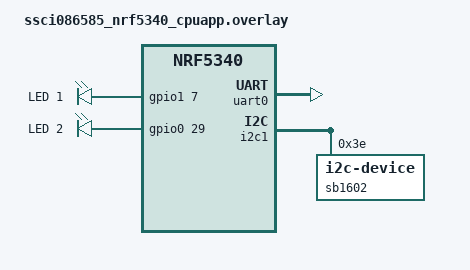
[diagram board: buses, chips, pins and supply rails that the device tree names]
// To get started, press Ctrl+Space to bring up the completion menu and view the available nodes.

// You can also use the buttons in the sidebar to perform actions on nodes.
// Actions currently available include:

// * Enabling / disabling the node
// * Adding the bus to a bus
// * Removing the node
// * Connecting ADC channels

// For more help, browse the DeviceTree documentation at https://docs.zephyrproject.org/latest/guides/dts/index.html
// You can also visit the nRF DeviceTree extension documentation at https://docs.nordicsemi.com/bundle/nrf-connect-vscode/page/guides/ncs_configure_app.html#devicetree-support-in-the-extension

/ {
	leds {
		compatible = "gpio-leds";
		led1: led-1 {
			gpios = <&gpio1 7 0>;
			label = "LED 1";
		};

		led2: led-2 {
			gpios = <&gpio0 29 0>;
			label = "LED 2";
		};
	};

	aliases {
		led1 = &led1;
		led2 = &led2;
	};
};

&uart0 {
	status = "okay";
};

&uart0_default {
	group1 {
		psels = <NRF_PSEL(UART_TX, 0, 13)>,
				<NRF_PSEL(UART_RX, 0, 15)>;
	};
};

&uart0_sleep {
	group1 {
		psels = <NRF_PSEL(UART_TX, 0, 13)>,
				<NRF_PSEL(UART_RX, 0, 15)>;
		low-power-enable;
	};
};

&i2c1_default {
	group1 {
		psels = <NRF_PSEL(TWIM_SDA, 0, 7)>,
				<NRF_PSEL(TWIM_SCL, 0, 9)>;
	};
};

&i2c1_sleep {
	group1 {
		psels = <NRF_PSEL(TWIM_SDA, 0, 7)>,
				<NRF_PSEL(TWIM_SCL, 0, 9)>;
	};
};

&i2c1 {
	status = "okay";

    sb1602: sb1602@3e{
        compatible = "i2c-device";
        status = "okay";
        reg = < 0x3e >;
    };
};
